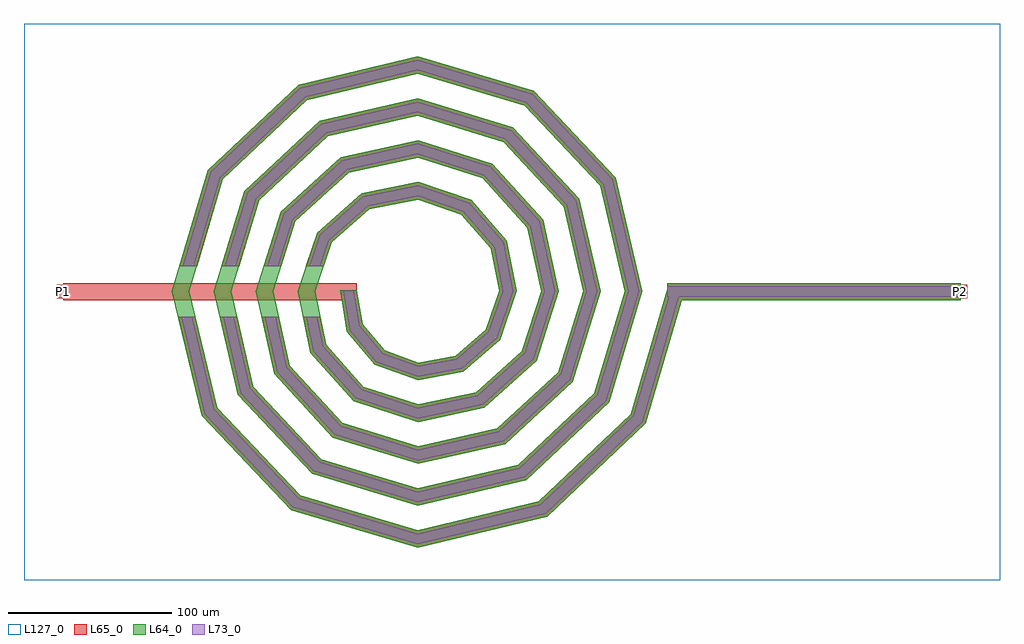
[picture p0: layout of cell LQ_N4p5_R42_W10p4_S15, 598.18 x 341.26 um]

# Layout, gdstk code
import gdstk
lib = gdstk.Library(unit=1e-6, precision=1e-09)
def R(c, l, rs):  # rectangles x0, y0, x1, y1
    for r in rs: c.add(gdstk.rectangle(r[:2], r[2:], *l))
def P(c, l, *ps):  # polygons
    for p in ps: c.add(gdstk.Polygon(p, *l))
L64_0 = (64, 0)
L65_0 = (65, 0)
L73_0 = (73, 0)
L127_0 = (127, 0)

lq_n4p5_r42_w10p4_s15 = lib.new_cell('LQ_N4p5_R42_W10p4_S15')
R(lq_n4p5_r42_w10p4_s15, L64_0, [(152.896,-5.2,332.896,5.2)])
P(lq_n4p5_r42_w10p4_s15, L64_0, [(-33.759,-20.046),(-20.302,-36.081),(0.439,-43.538),(23.203,-39.347),(41.613,-23.559),(49.957,0.388),(44.931,26.372),(26.807,47.151),(0.348,56.378),(-29.55,50.51),(-52.695,30.048),(-62.799,0.315),(-56.087,-32.734),(-33.283,-58.241),(0.288,-69.221),(35.923,-61.661),(63.791,-36.515),(75.643,0.265),(67.233,39.116),(39.744,69.342),(0.246,82.065),(-42.311,72.804),(-74.895,42.97),(-88.487,0.229),(-78.374,-45.508),(-46.195,-80.45),(0.214,-94.91),(48.707,-83.943),(86.005,-49.418),(101.332,0.201),(89.512,51.908),(52.639,91.561),(0.19,107.755),(-55.109,95.079),(-97.118,55.86),(-114.178,0.18),(-100.646,-58.312),(-59.079,-102.676),(0.171,-120.6),(61.516,-106.213),(108.234,-62.298),(127.023,0.162),(111.779,64.72),(65.516,113.792),(0.155,133.446),(-67.926,117.345),(-119.351,68.734),(-139.869,0.148),(-122.911,-71.131),(-71.951,-124.91),(0.142,-146.292),(74.337,-128.476),(130.469,-75.167),(153.109,1.473),(163.083,-1.473),(139.653,-80.788),(79.477,-137.938),(0.142,-157.055),(-77.582,-134.088),(-132.378,-76.26),(-150.632,0.148),(-128.522,74.376),(-73.043,126.819),(0.155,144.209),(71.17,122.956),(121.26,69.825),(137.786,0.162),(117.389,-67.965),(66.606,-115.701),(0.171,-131.363),(-64.761,-111.822),(-110.143,-63.387),(-124.939,0.18),(-106.255,61.558),(-60.167,104.585),(0.19,118.516),(58.355,100.687),(99.028,56.946),(112.093,0.201),(95.118,-55.154),(53.724,-93.472),(0.214,-105.669),(-51.954,-89.548),(-87.916,-50.5),(-99.246,0.229),(-83.978,48.755),(-47.274,82.361),(0.246,92.822),(45.559,78.406),(76.807,44.046),(86.398,0.265),(72.833,-42.364),(40.815,-71.254),(0.288,-79.974),(-39.173,-67.257),(-65.704,-37.581),(-73.55,0.315),(-61.679,35.986),(-34.342,60.155),(0.348,67.126),(32.804,56.098),(54.61,31.097),(60.7,0.388),(50.511,-29.629),(27.844,-49.068),(0.439,-54.274),(-26.463,-44.918),(-43.532,-24.578),(-47.607,0.881),(-37.358,0.881)])
R(lq_n4p5_r42_w10p4_s15, L65_0, [(-217.283,-5.2,-37.283,5.2), (152.896,-5.2,332.896,5.2), (-221.283,-4,-213.283,4), (328.896,-4,336.896,4)])
P(lq_n4p5_r42_w10p4_s15, L65_0, [(-122.911,-71.131),(-71.951,-124.91),(0.142,-146.292),(74.337,-128.476),(130.469,-75.167),(153.109,1.473),(163.083,-1.473),(139.653,-80.788),(79.477,-137.938),(0.142,-157.055),(-77.582,-134.088),(-132.378,-76.26),(-146.87,-15.6),(-136.177,-15.6)],
  [(-100.647,-58.312),(-59.079,-102.676),(0.171,-120.6),(61.516,-106.213),(108.234,-62.298),(127.023,0.162),(111.779,64.72),(65.516,113.792),(0.155,133.446),(-67.926,117.345),(-119.351,68.734),(-135.178,15.6),(-146.029,15.6),(-128.522,74.376),(-73.043,126.819),(0.155,144.209),(71.17,122.956),(121.26,69.825),(137.786,0.162),(117.389,-67.965),(66.607,-115.702),(0.171,-131.363),(-64.761,-111.822),(-110.143,-63.387),(-121.266,-15.6),(-110.588,-15.6)],
  [(-78.374,-45.508),(-46.195,-80.45),(0.214,-94.91),(48.707,-83.943),(86.005,-49.418),(101.332,0.201),(89.512,51.908),(52.639,91.561),(0.19,107.755),(-55.109,95.079),(-97.118,55.86),(-109.374,15.6),(-120.245,15.6),(-106.255,61.558),(-60.167,104.585),(0.19,118.516),(58.355,100.687),(99.028,56.946),(112.093,0.201),(95.118,-55.154),(53.724,-93.472),(0.214,-105.669),(-51.954,-89.549),(-87.916,-50.5),(-95.71,-15.6),(-85.054,-15.6)],
  [(-56.087,-32.734),(-33.283,-58.241),(0.288,-69.221),(35.923,-61.661),(63.791,-36.515),(75.643,0.265),(67.233,39.116),(39.744,69.342),(0.246,82.065),(-42.311,72.804),(-74.895,42.97),(-83.507,15.6),(-94.41,15.6),(-83.978,48.755),(-47.274,82.361),(0.246,92.822),(45.559,78.406),(76.807,44.046),(86.398,0.265),(72.833,-42.365),(40.815,-71.254),(0.288,-79.975),(-39.173,-67.257),(-65.704,-37.581),(-70.255,-15.6),(-59.634,-15.6)],
  [(-20.302,-36.081),(0.439,-43.538),(23.203,-39.348),(41.613,-23.559),(49.957,0.388),(44.931,26.372),(26.807,47.151),(0.348,56.378),(-29.55,50.51),(-52.695,30.048),(-57.503,15.6),(-68.463,15.6),(-61.679,35.986),(-34.342,60.155),(0.348,67.126),(32.804,56.098),(54.61,31.098),(60.7,0.388),(50.511,-29.629),(27.844,-49.068),(0.439,-54.274),(-26.463,-44.918),(-43.532,-24.578),(-47.608,0.881),(-37.358,0.881),(-33.759,-20.046)])
R(lq_n4p5_r42_w10p4_s15, L73_0, [(152.896,-3.2,332.896,3.2)])
P(lq_n4p5_r42_w10p4_s15, L73_0, [(-124.732,-72.118),(-73.034,-126.675),(0.087,-148.362),(75.326,-130.296),(132.236,-76.248),(155.028,0.907),(161.165,0.907),(137.887,-79.707),(78.489,-136.118),(0.087,-154.985),(-76.499,-132.323),(-130.558,-75.274),(-144.814,-15.6),(-138.234,-15.6)],
  [(-102.473,-59.288),(-60.172,-104.435),(0.105,-122.67),(62.495,-108.038),(109.994,-63.388),(129.093,0.1),(113.603,65.702),(66.604,115.554),(0.095,135.516),(-68.91,119.167),(-121.115,69.819),(-137.265,15.6),(-143.943,15.6),(-126.758,73.291),(-72.059,124.997),(0.095,142.139),(70.083,121.194),(119.437,68.843),(135.716,0.1),(115.629,-66.876),(65.628,-113.877),(0.105,-129.293),(-63.669,-110.063),(-108.317,-62.411),(-119.213,-15.6),(-112.642,-15.6)],
  [(-80.209,-46.468),(-47.302,-82.2),(0.132,-96.979),(49.672,-85.776),(87.758,-50.521),(103.402,0.124),(91.342,52.877),(53.739,93.316),(0.117,109.824),(-56.082,96.907),(-98.875,56.956),(-111.465,15.6),(-118.155,15.6),(-104.498,60.462),(-59.195,102.757),(0.117,116.447),(57.256,98.932),(97.198,55.977),(110.023,0.124),(93.366,-54.051),(52.759,-91.639),(0.132,-103.6),(-50.846,-87.799),(-86.081,-49.54),(-93.661,-15.6),(-87.104,-15.6)],
  [(-57.936,-33.667),(-34.416,-59.975),(0.177,-71.289),(36.864,-63.506),(65.53,-37.64),(77.711,0.163),(69.074,40.064),(40.862,71.085),(0.151,84.134),(-43.265,74.642),(-76.642,44.083),(-85.604,15.6),(-92.313,15.6),(-82.231,47.643),(-46.32,80.523),(0.151,90.754),(44.441,76.663),(74.966,43.098),(84.33,0.163),(71.094,-41.24),(39.875,-69.41),(0.177,-77.906),(-38.041,-65.523),(-63.854,-36.649),(-68.213,-15.6),(-61.677,-15.6)],
  [(-21.487,-37.781),(0.27,-45.602),(24.095,-41.217),(43.324,-24.726),(52.023,0.239),(46.792,27.281),(27.96,48.872),(0.214,58.445),(-30.472,52.365),(-54.422,31.19),(-59.611,15.6),(-66.356,15.6),(-59.951,34.844),(-33.421,58.3),(0.214,65.059),(31.651,54.377),(52.748,30.189),(58.634,0.239),(48.8,-28.461),(26.951,-47.199),(0.27,-52.209),(-25.278,-43.218),(-41.652,-23.707),(-45.636,0.542),(-39.329,0.542),(-35.638,-20.917)])
R(lq_n4p5_r42_w10p4_s15, L127_0, [(-241.283,-177.055,356.896,164.209)])
lq_n4p5_r42_w10p4_s15.add(gdstk.Label('P2', (332.896,0), layer=65, texttype=0))
lq_n4p5_r42_w10p4_s15.add(gdstk.Label('P1', (-217.283,0), layer=65, texttype=0))
lq_n4p5_r42_w10p4_s15.add(gdstk.Label('P2', (336.896,0), layer=145, texttype=0))
lq_n4p5_r42_w10p4_s15.add(gdstk.Label('P1', (-221.283,0), layer=145, texttype=0))

lib.write_gds('LQ_N4p5_R42_W10p4_S15.gds')
